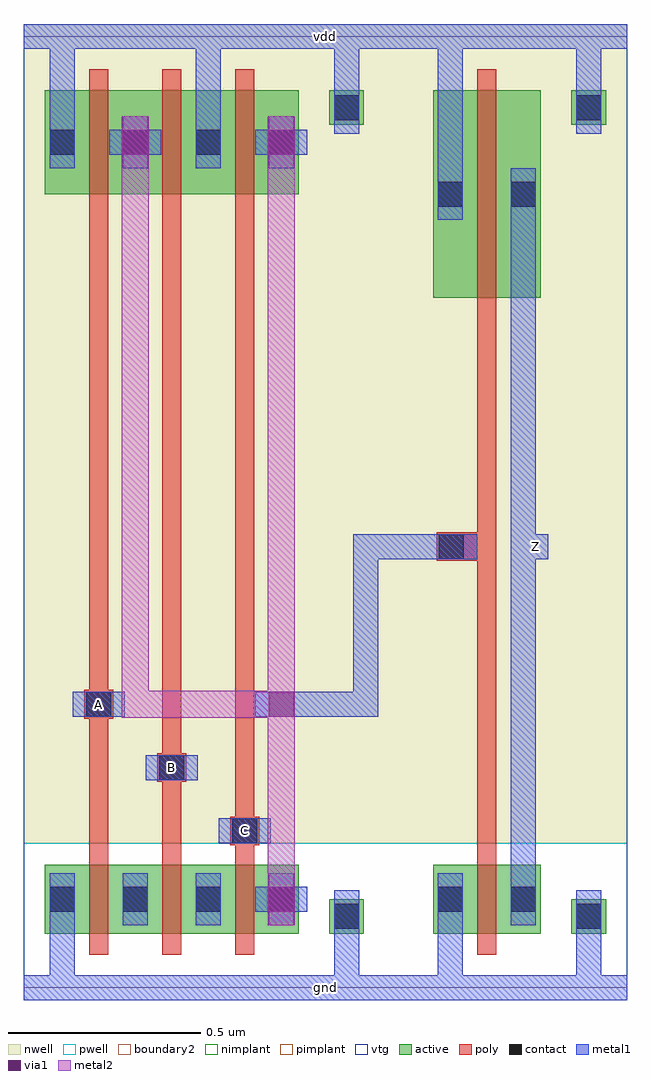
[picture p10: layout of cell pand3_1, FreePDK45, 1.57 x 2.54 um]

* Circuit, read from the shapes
.subckt pand3_1 A B C Z gnd vdd
M1 pnand3_1_0/nmos_m1_w0_180_a_p_3/D A gnd gnd nfet w=0.18u l=0.05u
M2 pnand3_1_0/nmos_m1_w0_180_a_p_4/D B pnand3_1_0/nmos_m1_w0_180_a_p_3/D gnd nfet w=0.18u l=0.05u
M3 pinv_6_1/A C pnand3_1_0/nmos_m1_w0_180_a_p_4/D gnd nfet w=0.18u l=0.05u
M4 Z pinv_6_1/A gnd gnd nfet w=0.18u l=0.05u
M5 pinv_6_1/A A vdd vdd pfet w=0.27u l=0.05u
M6 vdd B pinv_6_1/A vdd pfet w=0.27u l=0.05u
M7 pinv_6_1/A C vdd vdd pfet w=0.27u l=0.05u
M8 Z pinv_6_1/A vdd vdd pfet w=0.54u l=0.05u
.ends

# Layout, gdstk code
import gdstk
lib = gdstk.Library(unit=1e-6, precision=5e-10)
def R(c, l, rs):  # rectangles x0, y0, x1, y1
    for r in rs: c.add(gdstk.rectangle(r[:2], r[2:], *l))
def A(c, l, x, y, w, h, nx, ny, dx, dy):  # array of equal rectangles
    R(c, l, [(x+i*dx, y+j*dy, x+i*dx+w, y+j*dy+h) for i in range(nx) for j in range(ny)])
active = (1, 0)
pwell = (2, 0)
nwell = (3, 0)
nimplant = (4, 0)
pimplant = (5, 0)
vtg = (6, 0)
poly = (9, 0)
contact = (10, 0)
metal1 = (11, 0)
via1 = (12, 0)
metal2 = (13, 0)
boundary2 = (239, 0)

contact_9 = lib.new_cell('contact_9')
R(contact_9, active, [(0,0.0225,0.09,0.1125)])
R(contact_9, nwell, [(-0.055,-0.0325,0.145,0.1675)])
R(contact_9, pimplant, [(0,0.0225,0.09,0.1125)])
R(contact_9, contact, [(0.0125,0.035,0.0775,0.1)])
R(contact_9, metal1, [(0.0125,0,0.0775,0.135)])

pmos_m1_w0_270_a_p = lib.new_cell('pmos_m1_w0_270_a_p')
R(pmos_m1_w0_270_a_p, active, [(0,0,0.28,0.27)])
R(pmos_m1_w0_270_a_p, nwell, [(-0.055,-0.055,0.335,0.325)])
R(pmos_m1_w0_270_a_p, pimplant, [(0,0,0.28,0.27)])
R(pmos_m1_w0_270_a_p, vtg, [(-0.055,-0.055,0.335,0.325)])
R(pmos_m1_w0_270_a_p, poly, [(0.115,-0.055,0.165,0.325), (0.115,-0.055,0.165,0.325)])
R(pmos_m1_w0_270_a_p, metal1, [(0.0125,0.0675,0.0775,0.2025), (0.2025,0.0675,0.2675,0.2025)])
pmos_m1_w0_270_a_p.add(gdstk.Reference(contact_9, (0,0.0675)))
pmos_m1_w0_270_a_p.add(gdstk.Reference(contact_9, (0.19,0.0675)))
pmos_m1_w0_270_a_p.add(gdstk.Label('G', (0.14,0.135), layer=9, texttype=0))
pmos_m1_w0_270_a_p.add(gdstk.Label('S', (0.045,0.135), layer=11, texttype=0))
pmos_m1_w0_270_a_p.add(gdstk.Label('D', (0.235,0.135), layer=11, texttype=0))

contact_14 = lib.new_cell('contact_14')
R(contact_14, active, [(0,0.0225,0.09,0.1125)])
R(contact_14, pwell, [(-0.055,-0.0325,0.145,0.1675)])
R(contact_14, nimplant, [(0,0.0225,0.09,0.1125)])
R(contact_14, contact, [(0.0125,0.035,0.0775,0.1)])
R(contact_14, metal1, [(0.0125,0,0.0775,0.135)])

nmos_m1_w0_180_a_p = lib.new_cell('nmos_m1_w0_180_a_p')
R(nmos_m1_w0_180_a_p, active, [(0,0,0.28,0.18)])
R(nmos_m1_w0_180_a_p, pwell, [(-0.055,-0.055,0.335,0.235)])
R(nmos_m1_w0_180_a_p, nimplant, [(0,0,0.28,0.18)])
R(nmos_m1_w0_180_a_p, vtg, [(-0.055,-0.055,0.335,0.235)])
R(nmos_m1_w0_180_a_p, poly, [(0.115,-0.055,0.165,0.235), (0.115,-0.055,0.165,0.235)])
R(nmos_m1_w0_180_a_p, metal1, [(0.0125,0.0225,0.0775,0.1575), (0.2025,0.0225,0.2675,0.1575)])
nmos_m1_w0_180_a_p.add(gdstk.Reference(contact_14, (0,0.0225)))
nmos_m1_w0_180_a_p.add(gdstk.Reference(contact_14, (0.19,0.0225)))
nmos_m1_w0_180_a_p.add(gdstk.Label('G', (0.14,0.09), layer=9, texttype=0))
nmos_m1_w0_180_a_p.add(gdstk.Label('S', (0.045,0.09), layer=11, texttype=0))
nmos_m1_w0_180_a_p.add(gdstk.Label('D', (0.235,0.09), layer=11, texttype=0))

contact_18 = lib.new_cell('contact_18')
R(contact_18, active, [(0,0.0225,0.09,0.1125)])
R(contact_18, nwell, [(-0.055,-0.0325,0.145,0.1675)])
R(contact_18, nimplant, [(0,0.0225,0.09,0.1125)])
R(contact_18, contact, [(0.0125,0.035,0.0775,0.1)])
R(contact_18, metal1, [(0.0125,0,0.0775,0.135)])

contact_19 = lib.new_cell('contact_19')
R(contact_19, active, [(0,0.0225,0.09,0.1125)])
R(contact_19, pwell, [(-0.055,-0.0325,0.145,0.1675)])
R(contact_19, pimplant, [(0,0.0225,0.09,0.1125)])
R(contact_19, contact, [(0.0125,0.035,0.0775,0.1)])
R(contact_19, metal1, [(0.0125,0,0.0775,0.135)])

contact_10 = lib.new_cell('contact_10')
R(contact_10, poly, [(0.03,0,0.105,0.075)])
R(contact_10, contact, [(0.035,0.005,0.1,0.07)])
R(contact_10, metal1, [(0,0.005,0.135,0.07)])

contact_16 = lib.new_cell('contact_16')
R(contact_16, metal1, [(0,0.035,0.135,0.1)])
R(contact_16, via1, [(0.035,0.035,0.1,0.1)])
R(contact_16, metal2, [(0.0325,0,0.1025,0.135)])

pnand3_1 = lib.new_cell('pnand3_1')
R(pnand3_1, pwell, [(0,-0.0325,1.01,0.375)])
R(pnand3_1, nwell, [(0,0.375,1.01,2.5075)])
R(pnand3_1, vtg, [(0,-0.0325,1.01,0.375), (0,0.375,1.01,2.5075)])
A(pnand3_1, poly, 0.17, 0.085, 0.05, 1.925, 3, 1, 0.19, 0)
R(pnand3_1, poly, [(0.55,0.37,0.575,0.445), (0.36,0.535,0.385,0.61), (0.17,0.7,0.195,0.775)])
R(pnand3_1, metal1, [(0,-0.0325,1.01,0.0325), (0.0675,-0.0325,0.1325,0.1625), (0.8075,0,0.8725,0.185), (0.5075,0.375,0.6425,0.44), (0.3175,0.54,0.4525,0.605), (0.1275,0.705,0.2625,0.77), (0.6025,0.705,0.7375,0.77), (0.0675,2.1325,0.1325,2.5075), (0.4475,2.1325,0.5125,2.5075), (0.8075,2.29,0.8725,2.475), (0,2.4425,1.01,2.5075)])
R(pnand3_1, metal2, [(0.635,0.2975,0.705,2.1325), (0.635,0.2975,0.705,0.7375), (0.255,0.7025,0.325,0.7725), (0.29,0.7025,0.67,0.7725), (0.635,0.7025,0.705,0.7725), (0.255,0.7375,0.325,2.1325)])
R(pnand3_1, boundary2, [(0,0,1.01,2.475)])
pnand3_1.add(gdstk.Reference(pmos_m1_w0_270_a_p, (0.055,2.065)))
pnand3_1.add(gdstk.Reference(pmos_m1_w0_270_a_p, (0.245,2.065)))
pnand3_1.add(gdstk.Reference(pmos_m1_w0_270_a_p, (0.435,2.065)))
pnand3_1.add(gdstk.Reference(nmos_m1_w0_180_a_p, (0.055,0.14)))
pnand3_1.add(gdstk.Reference(nmos_m1_w0_180_a_p, (0.245,0.14)))
pnand3_1.add(gdstk.Reference(nmos_m1_w0_180_a_p, (0.435,0.14)))
pnand3_1.add(gdstk.Reference(contact_18, (0.795,2.2225)))
pnand3_1.add(gdstk.Reference(contact_19, (0.795,0.1175)))
pnand3_1.add(gdstk.Reference(contact_10, (0.5075,0.37)))
pnand3_1.add(gdstk.Reference(contact_10, (0.3175,0.535)))
pnand3_1.add(gdstk.Reference(contact_10, (0.1275,0.7)))
pnand3_1.add(gdstk.Reference(contact_16, (0.2225,2.1325)))
pnand3_1.add(gdstk.Reference(contact_16, (0.6025,2.1325)))
pnand3_1.add(gdstk.Reference(contact_16, (0.6025,0.1625)))
pnand3_1.add(gdstk.Reference(contact_16, (0.6025,0.67)))
pnand3_1.add(gdstk.Label('gnd', (0.505,0), layer=11, texttype=0))
pnand3_1.add(gdstk.Label('vdd', (0.505,2.475), layer=11, texttype=0))
pnand3_1.add(gdstk.Label('C', (0.575,0.4075), layer=11, texttype=0))
pnand3_1.add(gdstk.Label('B', (0.385,0.5725), layer=11, texttype=0))
pnand3_1.add(gdstk.Label('A', (0.195,0.7375), layer=11, texttype=0))
pnand3_1.add(gdstk.Label('Z', (0.67,0.7375), layer=11, texttype=0))

pmos_m1_w0_540_a_p = lib.new_cell('pmos_m1_w0_540_a_p')
R(pmos_m1_w0_540_a_p, active, [(0,0,0.28,0.54)])
R(pmos_m1_w0_540_a_p, nwell, [(-0.055,-0.055,0.335,0.595)])
R(pmos_m1_w0_540_a_p, pimplant, [(0,0,0.28,0.54)])
R(pmos_m1_w0_540_a_p, vtg, [(-0.055,-0.055,0.335,0.595)])
R(pmos_m1_w0_540_a_p, poly, [(0.115,-0.055,0.165,0.595), (0.115,-0.055,0.165,0.595)])
R(pmos_m1_w0_540_a_p, metal1, [(0.0125,0.2025,0.0775,0.3375), (0.2025,0.2025,0.2675,0.3375)])
pmos_m1_w0_540_a_p.add(gdstk.Reference(contact_9, (0,0.2025)))
pmos_m1_w0_540_a_p.add(gdstk.Reference(contact_9, (0.19,0.2025)))
pmos_m1_w0_540_a_p.add(gdstk.Label('G', (0.14,0.27), layer=9, texttype=0))
pmos_m1_w0_540_a_p.add(gdstk.Label('S', (0.045,0.27), layer=11, texttype=0))
pmos_m1_w0_540_a_p.add(gdstk.Label('D', (0.235,0.27), layer=11, texttype=0))

pinv_6 = lib.new_cell('pinv_6')
R(pinv_6, pwell, [(0,-0.0325,0.56,0.375)])
R(pinv_6, nwell, [(0,0.375,0.56,2.5075)])
R(pinv_6, vtg, [(0,-0.0325,0.56,0.375), (0,0.375,0.56,2.5075)])
R(pinv_6, poly, [(0.17,0.085,0.22,1.74), (0.1025,1.11,0.17,1.185)])
R(pinv_6, metal1, [(0,-0.0325,0.56,0.0325), (0.0675,-0.0325,0.1325,0.1625), (0.4275,0,0.4925,0.185), (0.2575,0.1625,0.3225,2.1325), (0.035,1.115,0.17,1.18), (0.29,1.115,0.355,1.18), (0.0675,1.9975,0.1325,2.5075), (0.4275,2.29,0.4925,2.475), (0,2.4425,0.56,2.5075)])
R(pinv_6, boundary2, [(0,0,0.56,2.475)])
pinv_6.add(gdstk.Reference(pmos_m1_w0_540_a_p, (0.055,1.795)))
pinv_6.add(gdstk.Reference(nmos_m1_w0_180_a_p, (0.055,0.14)))
pinv_6.add(gdstk.Reference(contact_18, (0.415,2.2225)))
pinv_6.add(gdstk.Reference(contact_19, (0.415,0.1175)))
pinv_6.add(gdstk.Reference(contact_10, (0.035,1.11)))
pinv_6.add(gdstk.Label('gnd', (0.28,0), layer=11, texttype=0))
pinv_6.add(gdstk.Label('vdd', (0.28,2.475), layer=11, texttype=0))
pinv_6.add(gdstk.Label('A', (0.1025,1.1475), layer=11, texttype=0))
pinv_6.add(gdstk.Label('Z', (0.3225,1.1475), layer=11, texttype=0))

pand3_1 = lib.new_cell('pand3_1')
R(pand3_1, metal1, [(0,-0.0325,1.57,0.0325), (0.5075,0.375,0.6425,0.44), (0.3175,0.54,0.4525,0.605), (0.1275,0.705,0.2625,0.77), (0.67,0.705,0.89,0.77), (0.8575,0.705,0.9225,0.77), (0.8575,0.7375,0.9225,1.1475), (0.8575,1.115,0.9225,1.18), (0.89,1.115,1.1125,1.18), (1.3,1.115,1.365,1.18), (0,2.4425,1.57,2.5075)])
R(pand3_1, boundary2, [(0,0,1.57,2.475)])
pand3_1.add(gdstk.Reference(pnand3_1, (0,0)))
pand3_1.add(gdstk.Reference(pinv_6, (1.01,0)))
pand3_1.add(gdstk.Label('vdd', (0.785,2.475), layer=11, texttype=0))
pand3_1.add(gdstk.Label('gnd', (0.785,0), layer=11, texttype=0))
pand3_1.add(gdstk.Label('Z', (1.3325,1.1475), layer=11, texttype=0))
pand3_1.add(gdstk.Label('A', (0.195,0.7375), layer=11, texttype=0))
pand3_1.add(gdstk.Label('B', (0.385,0.5725), layer=11, texttype=0))
pand3_1.add(gdstk.Label('C', (0.575,0.4075), layer=11, texttype=0))

lib.write_gds('pand3_1.gds')
